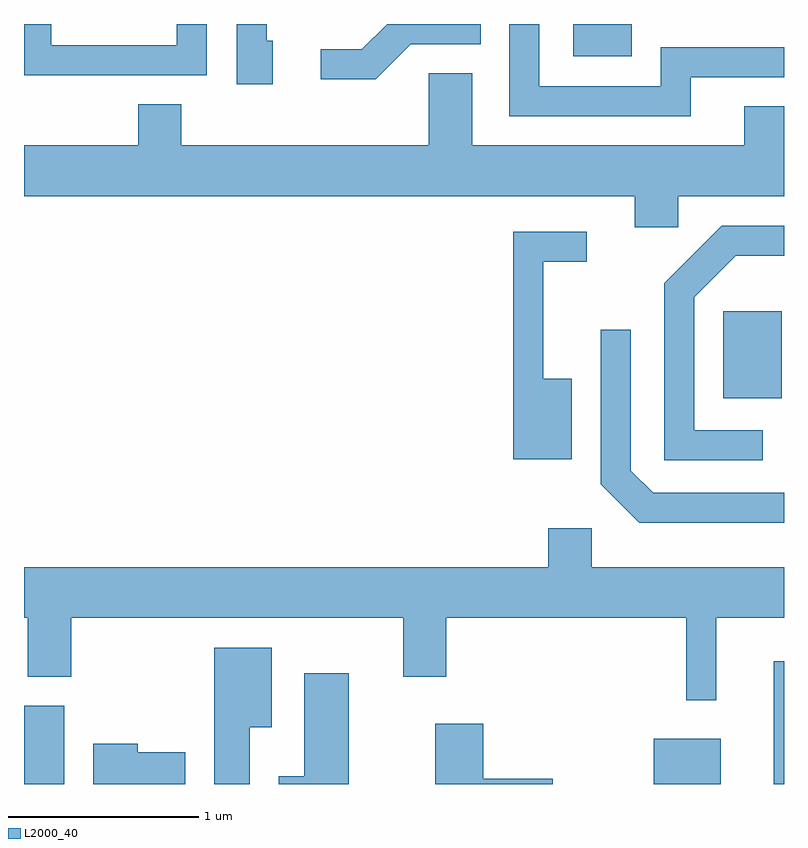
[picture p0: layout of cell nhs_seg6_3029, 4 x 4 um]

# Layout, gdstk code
import gdstk
lib = gdstk.Library(unit=1e-6, precision=1e-09)
def R(c, l, rs):  # rectangles x0, y0, x1, y1
    for r in rs: c.add(gdstk.rectangle(r[:2], r[2:], *l))
def P(c, l, *ps):  # polygons
    for p in ps: c.add(gdstk.Polygon(p, *l))
L2000_40 = (2000, 40)

nhs_seg6_3029 = lib.new_cell('nhs_seg6_3029')
R(nhs_seg6_3029, L2000_40, [(275.611,1660.162,275.824,1660.574), (278.926,1660.162,279.279,1660.399), (279.556,1660.162,279.611,1660.809), (279.291,1662.191,279.599,1662.649), (278.501,1663.991,278.809,1664.162)])
P(nhs_seg6_3029, L2000_40, [(277.647,1664.056),(278.014,1664.056),(278.014,1664.162),(277.522,1664.162),(277.389,1664.029),(277.173,1664.029),(277.173,1663.871),(277.462,1663.871)],
  [(279.119,1663.881),(279.611,1663.881),(279.611,1664.039),(278.961,1664.039),(278.961,1663.834),(278.324,1663.834),(278.324,1664.162),(278.166,1664.162),(278.166,1663.676),(279.119,1663.676)],
  [(276.919,1664.074),(276.889,1664.074),(276.889,1664.162),(276.731,1664.162),(276.731,1663.846),(276.919,1663.846)],
  [(276.574,1664.162),(276.416,1664.162),(276.416,1664.049),(275.754,1664.049),(275.754,1664.162),(275.611,1664.162),(275.611,1663.891),(276.574,1663.891)],
  [(279.054,1663.256),(279.611,1663.256),(279.611,1663.729),(279.401,1663.729),(279.401,1663.524),(277.969,1663.524),(277.969,1663.904),(277.741,1663.904),(277.741,1663.524),(276.439,1663.524),(276.439,1663.739),(276.211,1663.739),(276.211,1663.524),(275.611,1663.524),(275.611,1663.256),(278.826,1663.256),(278.826,1663.091),(279.054,1663.091)],
  [(279.498,1662.024),(279.139,1662.024),(279.139,1662.724),(279.357,1662.941),(279.611,1662.941),(279.611,1663.099),(279.284,1663.099),(278.981,1662.797),(278.981,1661.866),(279.498,1661.866)],
  [(278.494,1662.294),(278.344,1662.294),(278.344,1662.911),(278.573,1662.911),(278.573,1663.069),(278.186,1663.069),(278.186,1661.871),(278.494,1661.871)],
  [(279.611,1661.694),(278.922,1661.694),(278.804,1661.812),(278.804,1662.553),(278.646,1662.553),(278.646,1661.739),(278.849,1661.536),(279.611,1661.536)],
  [(279.254,1661.036),(279.611,1661.036),(279.611,1661.304),(278.599,1661.304),(278.599,1661.509),(278.371,1661.509),(278.371,1661.304),(275.611,1661.304),(275.611,1661.036),(275.631,1661.036),(275.631,1660.726),(275.859,1660.726),(275.859,1661.036),(277.606,1661.036),(277.606,1660.726),(277.834,1660.726),(277.834,1661.036),(279.096,1661.036),(279.096,1660.603),(279.254,1660.603)],
  [(276.799,1660.461),(276.914,1660.461),(276.914,1660.879),(276.611,1660.879),(276.611,1660.162),(276.799,1660.162)],
  [(277.319,1660.744),(277.086,1660.744),(277.086,1660.204),(276.951,1660.204),(276.951,1660.162),(277.319,1660.162)],
  [(278.394,1660.189),(278.029,1660.189),(278.029,1660.479),(277.776,1660.479),(277.776,1660.162),(278.394,1660.162)],
  [(276.459,1660.329),(276.209,1660.329),(276.209,1660.374),(275.976,1660.374),(275.976,1660.162),(276.459,1660.162)])

lib.write_gds('nhs_seg6_3029.gds')
